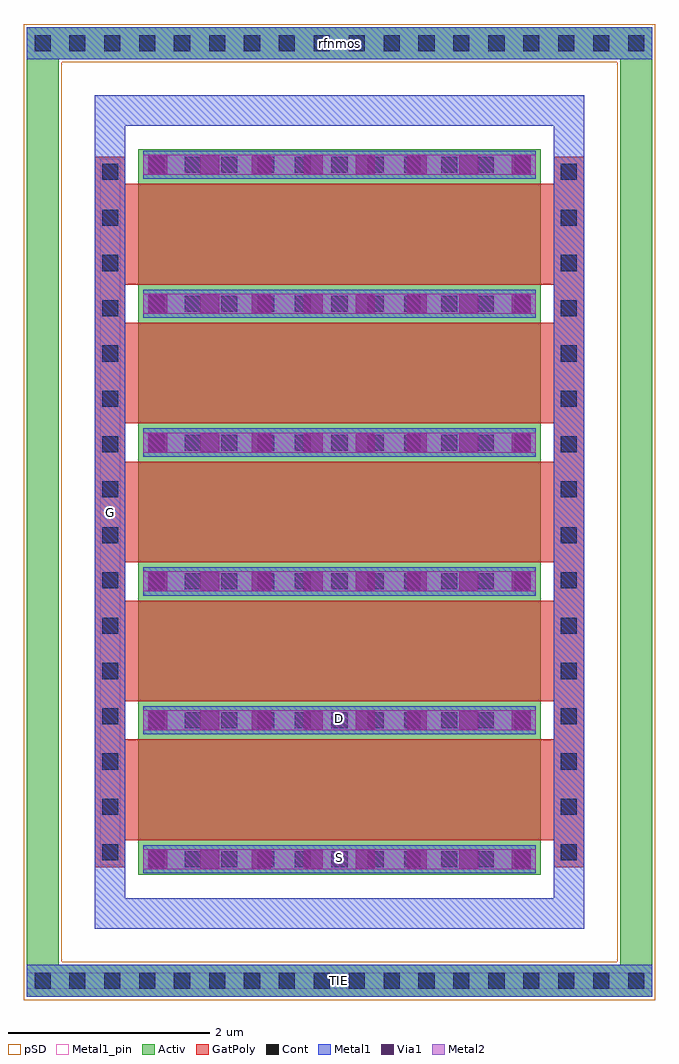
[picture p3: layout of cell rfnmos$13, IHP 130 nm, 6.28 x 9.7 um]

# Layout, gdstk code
import gdstk
lib = gdstk.Library(unit=1e-6, precision=5e-09)
def R(c, l, rs):  # rectangles x0, y0, x1, y1
    for r in rs: c.add(gdstk.rectangle(r[:2], r[2:], *l))
def A(c, l, x, y, w, h, nx, ny, dx, dy):  # array of equal rectangles
    R(c, l, [(x+i*dx, y+j*dy, x+i*dx+w, y+j*dy+h) for i in range(nx) for j in range(ny)])
def P(c, l, *ps):  # polygons
    for p in ps: c.add(gdstk.Polygon(p, *l))
Activ = (1, 0)
GatPoly = (5, 0)
Cont = (6, 0)
Metal1 = (8, 0)
Metal1_pin = (8, 2)
Metal2 = (10, 0)
pSD = (14, 0)
Via1 = (19, 0)

rfnmos_13 = lib.new_cell('rfnmos$13')
R(rfnmos_13, Activ, [(1.14,1.245,5.14,8.455)])
P(rfnmos_13, Activ, [(0.03,0.03),(0.03,9.35),(0.35,9.35),(0.35,0.35),(5.93,0.35),(5.93,9.35),(0.03,9.35),(0.03,9.67),(6.25,9.67),(6.25,0.03)])
A(rfnmos_13, GatPoly, 1.01, 1.59, 4.26, 1, 1, 5, 0, 1.38)
R(rfnmos_13, GatPoly, [(0.71,1.32,1.01,8.38), (5.27,1.32,5.57,8.38)])
A(rfnmos_13, Cont, 0.11, 0.11, 0.16, 0.16, 3, 2, 0.345, 9.32)
A(rfnmos_13, Cont, 1.845, 0.11, 0.16, 0.16, 3, 2, 0.345, 9.32)
A(rfnmos_13, Cont, 3.58, 0.11, 0.16, 0.16, 3, 2, 0.345, 9.32)
A(rfnmos_13, Cont, 1.24, 1.32, 0.16, 0.16, 1, 6, 0, 1.38)
A(rfnmos_13, Cont, 1.6, 1.32, 0.16, 0.16, 5, 6, 0.365, 1.38)
A(rfnmos_13, Cont, 3.42, 1.32, 0.16, 0.16, 5, 6, 0.365, 1.38)
A(rfnmos_13, Cont, 0.78, 1.39, 0.16, 0.16, 1, 8, 0, 0.45)
A(rfnmos_13, Cont, 5.34, 1.39, 0.16, 0.16, 1, 8, 0, 0.45)
A(rfnmos_13, Cont, 0.78, 4.995, 0.16, 0.16, 1, 7, 0, 0.45)
A(rfnmos_13, Cont, 5.34, 4.995, 0.16, 0.16, 1, 7, 0, 0.45)
R(rfnmos_13, Cont, [(1.15,0.11,1.31,0.27), (1.495,0.11,1.655,0.27), (2.885,0.11,3.045,0.27), (3.23,0.11,3.39,0.27), (4.62,0.11,4.78,0.27), (4.965,0.11,5.125,0.27), (5.315,0.11,5.475,0.27), (5.66,0.11,5.82,0.27), (6.01,0.11,6.17,0.27), (0.78,8.15,0.94,8.31), (5.34,8.15,5.5,8.31), (1.15,9.43,1.31,9.59), (1.495,9.43,1.655,9.59), (2.885,9.43,3.045,9.59), (3.23,9.43,3.39,9.59), (4.62,9.43,4.78,9.59), (4.965,9.43,5.125,9.59), (5.315,9.43,5.475,9.59), (5.66,9.43,5.82,9.59), (6.01,9.43,6.17,9.59)])
A(rfnmos_13, Metal1, 1.19, 1.26, 3.9, 0.28, 1, 6, 0, 1.38)
R(rfnmos_13, Metal1, [(0.03,0.03,6.25,0.35), (0.76,1.34,0.96,8.36), (5.32,1.34,5.52,8.36), (0.03,9.35,6.25,9.67)])
P(rfnmos_13, Metal1, [(0.71,0.71),(0.71,8.69),(1.01,8.69),(1.01,1.01),(5.27,1.01),(5.27,8.69),(0.71,8.69),(0.71,8.99),(5.57,8.99),(5.57,0.71)])
R(rfnmos_13, Metal1_pin, [(0.03,0.11,6.25,0.27), (0.03,0.11,6.25,0.27), (1.19,1.26,5.09,1.54), (1.19,1.26,5.09,1.54), (0.76,1.34,0.96,8.36), (0.76,1.34,0.96,8.36), (1.19,2.64,5.09,2.92), (1.19,2.64,5.09,2.92)])
A(rfnmos_13, Metal2, 1.19, 1.3, 3.9, 0.2, 1, 6, 0, 1.38)
P(rfnmos_13, pSD, [(0,0),(0,9.32),(0.38,9.32),(0.38,0.38),(5.9,0.38),(5.9,9.32),(0,9.32),(0,9.7),(6.28,9.7),(6.28,0)])
A(rfnmos_13, Via1, 1.24, 1.305, 0.19, 0.19, 7, 6, 0.515, 1.38)
A(rfnmos_13, Via1, 4.85, 1.305, 0.19, 0.19, 1, 6, 0, 1.38)
rfnmos_13.add(gdstk.Label('S', (3.14,1.42), layer=63, texttype=0))
rfnmos_13.add(gdstk.Label('D', (3.14,2.795), layer=63, texttype=0))
rfnmos_13.add(gdstk.Label('G', (0.86,4.85), layer=63, texttype=0))
rfnmos_13.add(gdstk.Label('TIE', (3.14,0.19), layer=63, texttype=0))
rfnmos_13.add(gdstk.Label('rfnmos', (3.14,9.51), layer=63, texttype=0))

lib.write_gds('rfnmos_13.gds')
